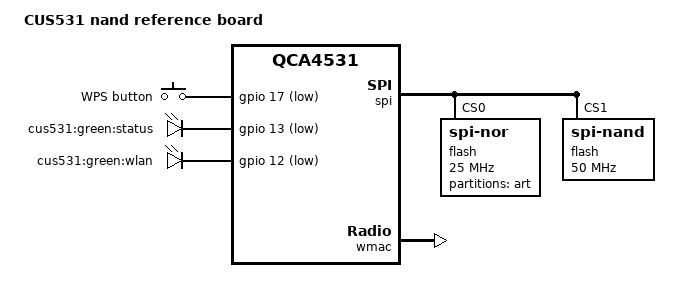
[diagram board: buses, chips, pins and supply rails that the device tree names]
// SPDX-License-Identifier: ISC
// Copyright (c) 2022, Qualcomm Innovation Center, Inc. All rights reserved.

/dts-v1/;

#include <dt-bindings/gpio/gpio.h>
#include <dt-bindings/input/input.h>
#include <dt-bindings/clock/ath79-clk.h>

#include "qca4531.dtsi"

/ {
	compatible = "qca,cus531_nand", "qca,ath79";
	model = "CUS531 nand reference board";

	gpio-keys-polled {
		compatible = "gpio-keys-polled";
		#address-cells = <1>;
		#size-cells = <0>;

		poll-interval = <20>;

		button@0 {
			label = "WPS button";
			linux,code = <KEY_WPS_BUTTON>;
			gpios = <&gpio 17 GPIO_ACTIVE_LOW>;
			debounce-interval = <60>;
		};
	};

	leds {
		compatible = "gpio-leds";
		led@0 {
			label = "cus531:green:status";
			gpios = <&gpio 13 GPIO_ACTIVE_LOW>;
		};

		led@1 {
			label = "cus531:green:wlan";
			gpios = <&gpio 12 GPIO_ACTIVE_LOW>;
		};

	};
};

&spi {
	status = "okay";

	flash@0 {
		#address-cells = <1>;
		#size-cells = <1>;
		compatible = "jedec,spi-nor";
		reg = <0>;
		spi-max-frequency = <25000000>;
		cs-gpios = <&gpio 0 GPIO_ACTIVE_LOW>;

		partitions {
			compatible = "fixed-partitions";
			#address-cells = <1>;
			#size-cells = <1>;
			art: partition@70000 {
				label = "art";
				reg = <0x70000 0x010000>;
				read-only;
			};
		};
	};

	flash@1 {
		#address-cells = <1>;
		#size-cells = <1>;
		compatible = "spi-nand";
		reg = <1>;
		spi-max-frequency = <50000000>;
	};
};

&wmac {
	status = "okay";
	mtd-cal-data = <&art 0x1000>;
};
